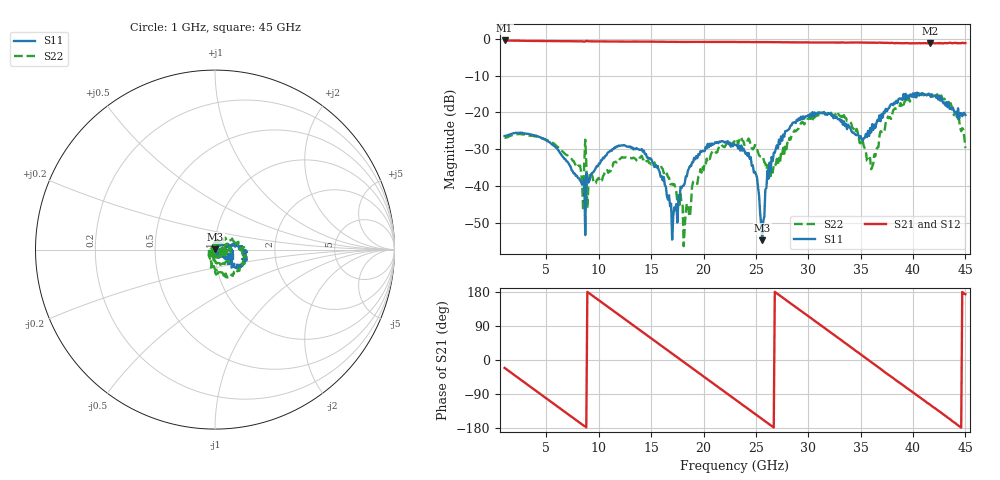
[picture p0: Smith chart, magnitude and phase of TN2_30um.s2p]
!Keysight Technologies,N5247B,MY61255062,A.19.80.06
!Date: Monday, May 18, 2026 12:11:57
!Correction: S11(Cdelta 2-Port  )
!S21(Cdelta 2-Port  )
!S12(Cdelta 2-Port  )
!S22(Cdelta 2-Port  )
!S2P File: Measurements: S11, S21, S12, S22:
# Hz S  dB  R 50
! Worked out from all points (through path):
!   441 points, 1 GHz to 45 GHz, reference 50 ohm
!   highest |S21| = -0.42 dB at 1 GHz (marker M1); lowest = -1.2 dB at 41.6 GHz (marker M2)
!   group delay of S21, straight-line fit = 55.9 ps
!   lowest |S11| = -54.8 dB at 25.6 GHz (marker M3), VSWR 1.00, Z = 50.1 + j0.109 ohm
!   |S11| at or under -10 dB: start of sweep to end of sweep
!   |S22| runs from -56.4 to -14.8 dB; largest |S21 - S12| = 0.019
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1e9  -26.42 -8.4  -0.42 -20.9  -0.42 -20.9  -26.81 -9.8
4.6e9  -27.08 -78.4  -0.56 -93.6  -0.56 -93.6  -27.11 -77.9
8.4e9  -39.69 -82.0  -0.66 -170.3  -0.66 -170.3  -39.30 -101.9
1.02e10  -33.05 -48.4  -0.69 153.6  -0.69 153.6  -38.45 -78.9
1.24e10  -28.91 -83.8  -0.73 109.6  -0.74 109.6  -32.30 -87.9
1.57e10  -35.53 -133.8  -0.76 43.0  -0.76 43.0  -34.71 -129.0
1.71e10  -48.29 112.2  -0.79 15.0  -0.80 14.9  -39.74 -160.3
1.83e10  -37.43 22.0  -0.81 -9.0  -0.81 -9.1  -47.08 69.2
2.03e10  -29.79 -9.2  -0.80 -49.3  -0.81 -49.3  -32.56 5.3
2.3e10  -28.80 -54.1  -0.83 -103.7  -0.83 -103.7  -27.48 -57.9
2.45e10  -32.18 -74.3  -0.85 -133.8  -0.86 -133.9  -28.88 -91.1
2.56e10  -54.84 37.0  -0.86 -156.0  -0.88 -156.0  -31.89 -136.9
2.61e10  -35.86 42.9  -0.88 -166.0  -0.88 -166.0  -34.37 -169.2
2.7e10  -28.94 39.5  -0.89 175.8  -0.88 175.7  -32.64 111.7
3.04e10  -19.92 -6.0  -0.97 107.6  -0.96 107.4  -22.16 -1.3
3.36e10  -23.11 -37.9  -0.95 43.2  -1.00 43.2  -21.53 -73.9
3.6e10  -25.45 5.6  -1.02 -5.4  -1.06 -5.3  -35.47 160.3
3.77e10  -18.85 8.2  -1.10 -40.1  -1.05 -40.0  -21.59 47.1
3.97e10  -15.20 -7.3  -1.22 -79.6  -1.19 -80.0  -17.08 -1.0
4.16e10  -15.05 -30.4  -1.24 -117.2  -1.20 -117.5  -15.30 -40.1
4.36e10  -18.76 -36.2  -1.07 -157.5  -1.08 -158.2  -17.50 -87.8
4.5e10  -20.71 -24.5  -1.13 173.7  -1.18 173.0  -29.70 -138.4
